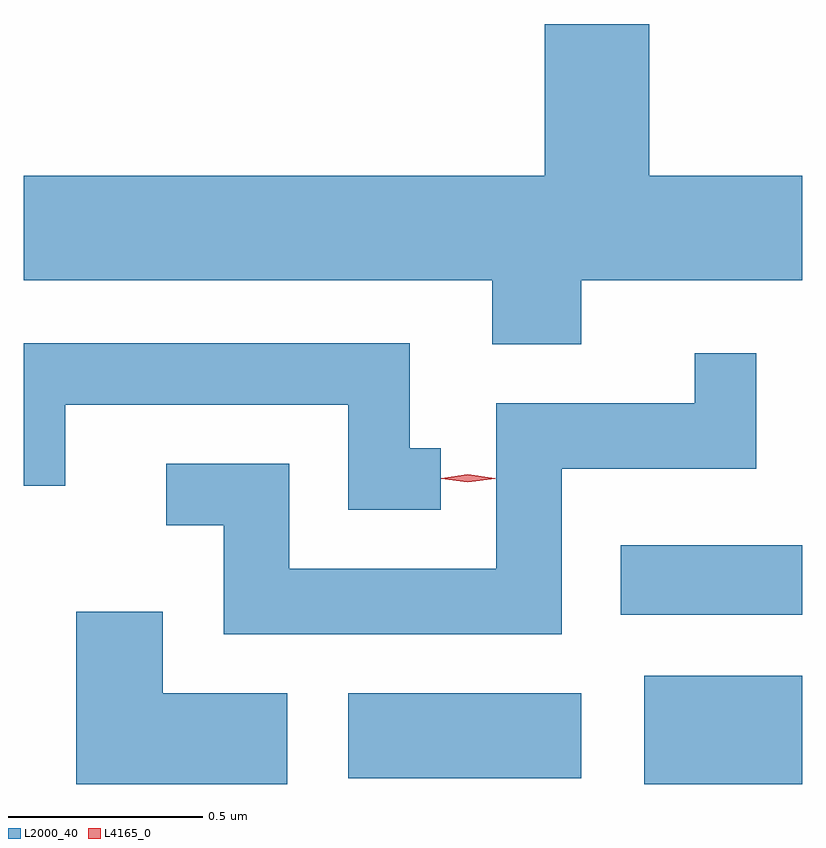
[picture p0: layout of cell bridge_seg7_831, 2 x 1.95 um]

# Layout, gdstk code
import gdstk
lib = gdstk.Library(unit=1e-6, precision=1e-09)
def R(c, l, rs):  # rectangles x0, y0, x1, y1
    for r in rs: c.add(gdstk.rectangle(r[:2], r[2:], *l))
def P(c, l, *ps):  # polygons
    for p in ps: c.add(gdstk.Polygon(p, *l))
L2000_40 = (2000, 40)
L4165_0 = (4165, 0)

bridge_seg7_831 = lib.new_cell('bridge_seg7_831')
R(bridge_seg7_831, L2000_40, [(355.191,1744.101,355.597,1744.379), (354.431,1744.116,355.029,1744.334), (355.131,1744.536,355.597,1744.714)])
P(bridge_seg7_831, L2000_40, [(355.029,1745.396),(355.597,1745.396),(355.597,1745.664),(355.204,1745.664),(355.204,1746.054),(354.936,1746.054),(354.936,1745.664),(353.597,1745.664),(353.597,1745.396),(354.801,1745.396),(354.801,1745.231),(355.029,1745.231)],
  [(354.668,1744.964),(354.589,1744.964),(354.589,1745.234),(353.597,1745.234),(353.597,1744.868),(353.704,1744.868),(353.704,1745.076),(354.431,1745.076),(354.431,1744.806),(354.668,1744.806)],
  [(354.979,1744.911),(355.479,1744.911),(355.479,1745.208),(355.321,1745.208),(355.321,1745.079),(354.811,1745.079),(354.811,1744.654),(354.279,1744.654),(354.279,1744.924),(353.963,1744.924),(353.963,1744.766),(354.111,1744.766),(354.111,1744.486),(354.979,1744.486)],
  [(354.274,1744.334),(353.954,1744.334),(353.954,1744.544),(353.731,1744.544),(353.731,1744.101),(354.274,1744.101)])
P(bridge_seg7_831, L4165_0, [(354.738,1744.877),(354.669,1744.886),(354.669,1744.887),(354.669,1744.887),(354.738,1744.897),(354.808,1744.887),(354.808,1744.887),(354.808,1744.886)])

lib.write_gds('bridge_seg7_831.gds')
